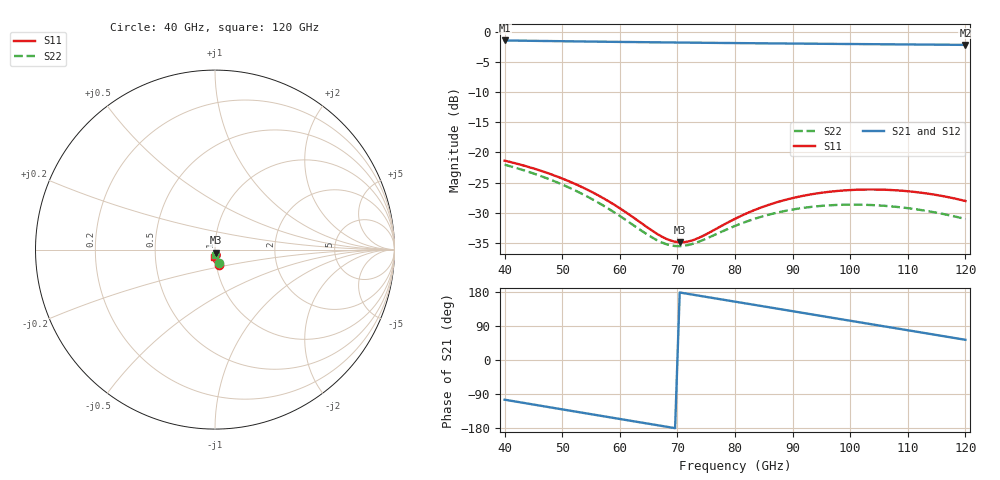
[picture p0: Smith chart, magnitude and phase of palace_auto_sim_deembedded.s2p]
! Created with skrf 1.11.0 (http://scikit-rf.org).
# GHz S DB R 50.0
!freq dBS11 angS11 dBS21 angS21 dBS12 angS12 dBS22 angS22
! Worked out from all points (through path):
!   101 points, 40 GHz to 120 GHz, reference 50 ohm
!   highest |S21| = -1.38 dB at 40 GHz (marker M1); lowest = -2.1 dB at 120 GHz (marker M2)
!   group delay of S21, straight-line fit = 7 ps
!   lowest |S11| = -34.9 dB at 70.4 GHz (marker M3), VSWR 1.04, Z = 50.5 - j1.74 ohm
!   |S11| at or under -10 dB: start of sweep to end of sweep
!   |S22| runs from -35.6 to -22.0 dB; largest |S21 - S12| = 9.1e-14
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40  -21.36 -76.6  -1.38 -104.8  -1.38 -104.8  -22.04 -74.7
43.2  -22.15 -83.3  -1.42 -113.0  -1.42 -113.0  -22.93 -81.0
46.4  -23.08 -89.6  -1.46 -121.1  -1.46 -121.1  -23.96 -86.9
53.6  -25.83 -101.4  -1.55 -139.4  -1.55 -139.4  -26.95 -97.5
57.6  -27.86 -105.3  -1.59 -149.5  -1.59 -149.5  -29.10 -100.3
60.8  -29.78 -105.8  -1.63 -157.6  -1.63 -157.6  -31.07 -99.6
64.8  -32.46 -100.0  -1.67 -167.7  -1.67 -167.7  -33.66 -92.0
67.2  -33.94 -91.3  -1.70 -173.8  -1.70 -173.8  -34.93 -82.7
68.8  -34.63 -83.2  -1.71 -177.8  -1.71 -177.8  -35.43 -74.8
70.4  -34.93 -73.9  -1.73 178.1  -1.73 178.1  -35.58 -66.5
72  -34.77 -64.7  -1.74 174.1  -1.74 174.1  -35.36 -58.7
73.6  -34.24 -56.9  -1.76 170.1  -1.76 170.1  -34.88 -52.3
80  -31.03 -43.6  -1.81 154.0  -1.81 154.0  -32.22 -41.6
86.4  -28.53 -46.5  -1.87 137.9  -1.87 137.9  -30.21 -44.6
90.4  -27.49 -51.4  -1.90 127.8  -1.90 127.8  -29.42 -49.3
93.6  -26.90 -56.2  -1.92 119.7  -1.92 119.7  -29.01 -53.7
97.6  -26.42 -62.7  -1.95 109.7  -1.95 109.7  -28.73 -59.7
100.8  -26.21 -68.0  -1.98 101.6  -1.98 101.6  -28.67 -64.7
104  -26.16 -73.5  -2.00 93.6  -2.00 93.6  -28.75 -69.8
107.2  -26.25 -78.9  -2.02 85.5  -2.02 85.5  -28.97 -74.8
113.6  -26.86 -89.1  -2.07 69.4  -2.07 69.4  -29.77 -84.1
120  -28.07 -97.7  -2.11 53.3  -2.11 53.3  -31.07 -91.7
